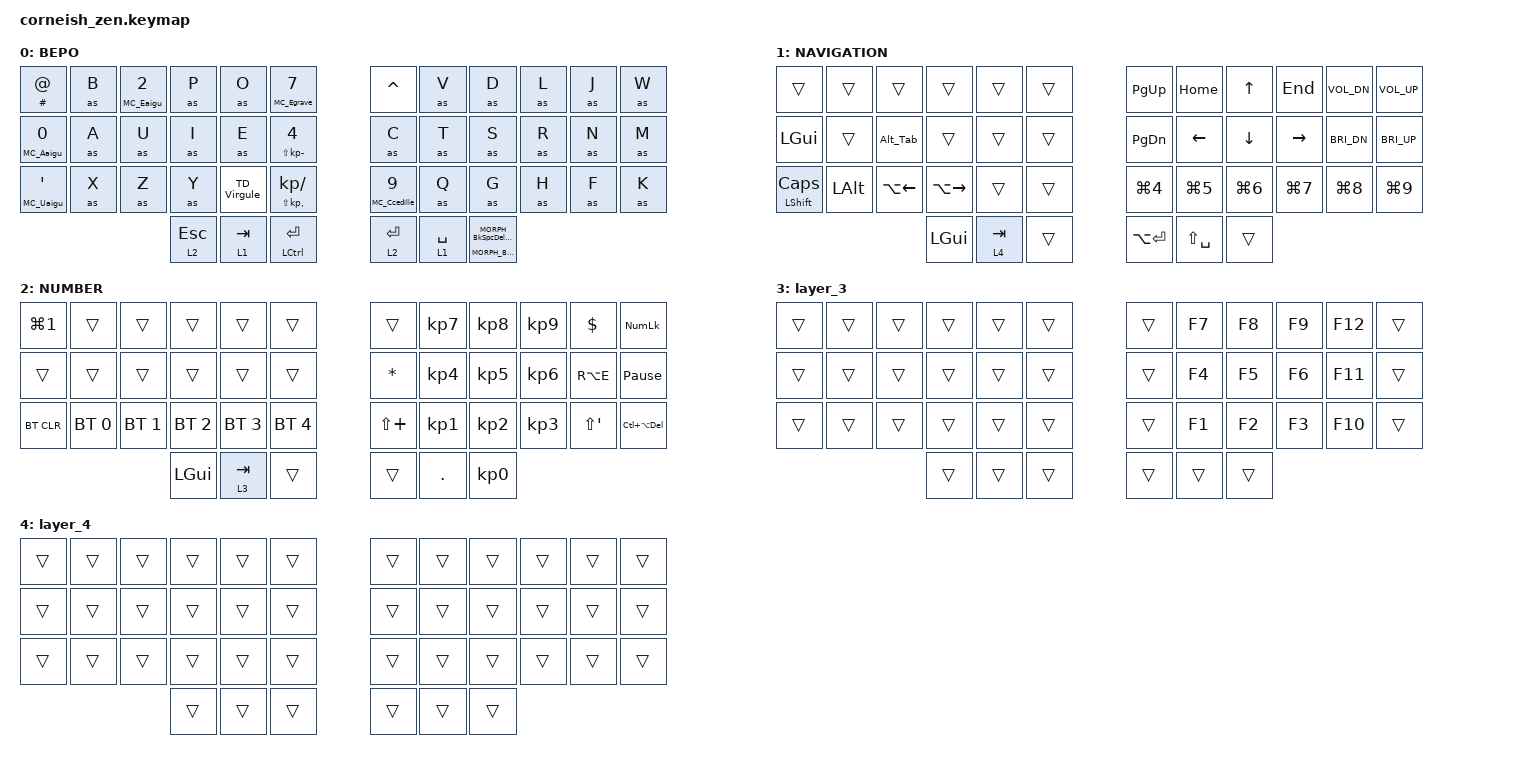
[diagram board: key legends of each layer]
#include <behaviors.dtsi>
#include <dt-bindings/zmk/bt.h>
#include <dt-bindings/zmk/keys.h>
#include <dt-bindings/zmk/keys.h>

&lt {
    tapping-term-ms = <135>;
    flavor = "tap-unless-interrupted";
};

&mt {
    tapping-term-ms = <135>;
    flavor = "hold-preferred";
};

/ {
    chosen {
        zmk,matrix_transform = &default_transform;

        //zmk,matrix_transform = &five_column_transform;
    };
};

/ {
    behaviors {
        as_ht: autoshift_hold_tap {
            compatible = "zmk,behavior-hold-tap";
            label = "AUTOSHIFT_HOLD_TAP";
            #binding-cells = <2>;
            tapping-term-ms = <140>;
            bindings = <&shifted>, <&kp>;
        };

        ht: ht {
            compatible = "zmk,behavior-hold-tap";
            label = "HOLD_TAP";
            bindings = <&kp>, <&kp>;

            #binding-cells = <2>;
            flavor = "tap-preferred";
            tapping-term-ms = <135>;
        };

        HT_Eaigu: HT_Eaigu {
            compatible = "zmk,behavior-hold-tap";
            label = "HT_EAIGU";
            bindings = <&MC_Eaigu>, <&kp>;

            #binding-cells = <2>;
            tapping-term-ms = <140>;
            flavor = "tap-preferred";
        };

        HT_Egrave: HT_Egrave {
            compatible = "zmk,behavior-hold-tap";
            label = "HT_EGRAVE";
            bindings = <&MC_Egrave>, <&kp>;

            #binding-cells = <2>;
            flavor = "tap-preferred";
            tapping-term-ms = <140>;
            hold-trigger-key-positions = <5>;
        };

        HT_Aaigu: HT_Aaigu {
            compatible = "zmk,behavior-hold-tap";
            label = "HT_AAIGU";
            bindings = <&MC_Aaigu>, <&kp>;

            #binding-cells = <2>;
            tapping-term-ms = <140>;
            flavor = "tap-preferred";
        };

        HT_Ccedille: HT_Ccedille {
            compatible = "zmk,behavior-hold-tap";
            label = "HT_CCEDILLE";
            bindings = <&MC_Ccedille>, <&kp>;

            #binding-cells = <2>;
            tapping-term-ms = <140>;
            flavor = "tap-preferred";
        };

        HT_Uaigu: HT_Uaigu {
            compatible = "zmk,behavior-hold-tap";
            label = "HT_UAIGU";
            bindings = <&MC_Uaigu>, <&kp>;

            #binding-cells = <2>;
            tapping-term-ms = <140>;
            flavor = "tap-preferred";
        };

        MORPH_BkSpcDel_Tap: BkSpcDelTap {
            compatible = "zmk,behavior-mod-morph";
            label = "BACKSPACEDELTAP";
            bindings = <&kp BACKSPACE>, <&kp DEL>;

            #binding-cells = <0>;
            mods = <(MOD_LCTL)>;
        };

        MORPH_BkSpcDel_Hold: MORPH_BkSpcDel_Hold {
            compatible = "zmk,behavior-mod-morph";
            label = "MORPH_BACKSPACEDEL_HOLD";
            bindings = <&kp RC(BACKSPACE)>, <&kp RC(DEL)>;

            #binding-cells = <0>;
            mods = <(MOD_LCTL)>;
        };

        HT_BkSpcDel: HT_BkSpcDel {
            compatible = "zmk,behavior-hold-tap";
            label = "HT_BackSpaceDel";
            bindings = <&MORPH_BkSpcDel_Hold>, <&MORPH_BkSpcDel_Tap>;

            #binding-cells = <2>;
            tapping-term-ms = <140>;
            flavor = "tap-preferred";
        };

        Alt_Tab: Alt_Tab {
            compatible = "zmk,behavior-tri-state";
            #binding-cells = <0>;
            bindings = <&kt LALT>, <&kp TAB>, <&kt LALT>;
        };

        HT_Copy: HT_Copy {
            compatible = "zmk,behavior-hold-tap";
            label = "HT_COPY";
            bindings = <&kp>, <&kp>;

            #binding-cells = <2>;
            tapping-term-ms = <160>;
            flavor = "tap-preferred";
            hold-trigger-key-positions = <14 15>;
        };

        HT_Paste: HT_Paste {
            compatible = "zmk,behavior-hold-tap";
            label = "HT_PASTE";
            bindings = <&MC_Paste>, <&kp>;

            #binding-cells = <2>;
            tapping-term-ms = <140>;
            flavor = "tap-preferred";
        };

        TD_Paste: TD_Paste {
            compatible = "zmk,behavior-tap-dance";
            label = "TD_PASTE";
            #binding-cells = <0>;
            bindings = <&HT_Paste 0 LC(V)>, <&none>;

            tapping-term-ms = <150>;
        };

        HT_Dbl_Quot: HT_Dbl_Quot {
            compatible = "zmk,behavior-hold-tap";
            label = "HT_DBL_QUOT";
            bindings = <&MC_Dbl_Quot>, <&kp>;

            #binding-cells = <2>;
            tapping-term-ms = <140>;
            flavor = "tap-preferred";
        };

        HT_Apost: HT_Apost {
            compatible = "zmk,behavior-hold-tap";
            label = "HT_APOST";
            bindings = <&kp>, <&kp>;

            #binding-cells = <2>;
            tapping-term-ms = <140>;
            flavor = "tap-preferred";
        };

        HT_CapsLock: HT_CapsLock {
            compatible = "zmk,behavior-hold-tap";
            label = "HT_CAPSLOCK";
            bindings = <&kp>, <&kp>;

            #binding-cells = <2>;
            tapping-term-ms = <160>;
        };

        TD_Virgule: TD_Virgule {
            compatible = "zmk,behavior-tap-dance";
            label = "TD_VIRGULE";
            #binding-cells = <0>;
            bindings = <&ht KP_COMMA M>, <&kp KP_DOT>;

            tapping-term-ms = <140>;
        };

        MORPH_Exclamation: MORPH_Exclamation {
            compatible = "zmk,behavior-mod-morph";
            label = "MORPH_EXCLAMATION";
            bindings = <&kp LS(KP_COMMA)>, <&kp KP_SLASH>;

            #binding-cells = <0>;
            mods = <(MOD_LCTL)>;
        };

        MORPH_Three_dots: MORPH_Three_dots {
            compatible = "zmk,behavior-mod-morph";
            label = "MORPH_THREE_DOTS";
            bindings = <&kp LS(M)>, <&MC_three_Dots>;

            #binding-cells = <0>;
            mods = <(MOD_LCTL)>;
        };

        HT_XLS_addTab: HT_XLS_addTab {
            compatible = "zmk,behavior-hold-tap";
            label = "HT_XLS_ADDTAB";
            bindings = <&MC_XLS_SupprTab>, <&kp>;

            #binding-cells = <2>;
            flavor = "tap-preferred";
            tapping-term-ms = <150>;
        };
    };

    macros {
        shifted: macro_shifted_kp {
            #binding-cells = <1>;
            label = "MACRO_SHIFTED_KP";
            compatible = "zmk,behavior-macro-one-param";
            bindings =
                <&macro_press>,
                <&kp LSHFT &macro_param_1to1>,
                <&macro_tap>,
                <&kp MACRO_PLACEHOLDER>,
                <&macro_release>,
                <&kp LSHFT>;
        };

        as: autoshift {
            compatible = "zmk,behavior-macro-one-param";
            #binding-cells = <1>;
            label = "AUTOSHIFT_KP";
            bindings =
                <&macro_press>,
                <&macro_param_1to1 &macro_param_1to2 &as_ht MACRO_PLACEHOLDER MACRO_PLACEHOLDER>,
                <&macro_pause_for_release>,
                <&macro_release>,
                <&macro_param_1to1 &macro_param_1to2 &as_ht MACRO_PLACEHOLDER MACRO_PLACEHOLDER>;
        };

        MC_Eaigu: MC_Eaigu {
            compatible = "zmk,behavior-macro";
            #binding-cells = <0>;
            bindings = <&kp LA(KP_NUMBER_1) &kp LA(KP_NUMBER_4) &kp LA(KP_NUMBER_4)>;
            label = "MC_EAIGU";
        };

        MC_Egrave: MC_Egrave {
            compatible = "zmk,behavior-macro";
            #binding-cells = <0>;
            bindings = <&kp LA(KP_NUMBER_2) &kp LA(KP_NUMBER_1) &kp LA(KP_NUMBER_2)>;
            label = "MC_EGRAVE";
        };

        MC_Ccedille: MC_Ccedille {
            compatible = "zmk,behavior-macro";
            #binding-cells = <0>;
            bindings = <&kp LA(KP_NUMBER_1) &kp LA(KP_NUMBER_2) &kp LA(KP_NUMBER_8)>;
            label = "MC_CCEDILLE";
        };

        MC_Aaigu: MC_Aaigu {
            compatible = "zmk,behavior-macro";
            #binding-cells = <0>;
            bindings = <&kp LA(KP_N0) &kp LA(KP_NUMBER_1) &kp LA(KP_NUMBER_9) &kp LA(KP_NUMBER_2)>;
            label = "MC_AAIGU";
        };

        MC_Uaigu: MC_Uaigu {
            compatible = "zmk,behavior-macro";
            #binding-cells = <0>;
            bindings = <&kp LA(KP_NUMBER_2) &kp LA(KP_NUMBER_3) &kp LA(KP_NUMBER_5)>;
            label = "MC_UAIGU";
        };

        MC_Paste: MC_Paste {
            compatible = "zmk,behavior-macro";
            #binding-cells = <0>;
            bindings = <&kp LC(V) &kp ENTER>;
            label = "MC_PASTE";
        };

        MC_PasteValue: MC_PasteValue {
            compatible = "zmk,behavior-macro";
            #binding-cells = <0>;
            bindings = <&kp LA(LC(V)) &kp V &kp RET>;
            label = "MC_PASTEVALUE";
        };

        MC_Dbl_Quot: MC_Dbl_Quot {
            compatible = "zmk,behavior-macro";
            #binding-cells = <0>;
            bindings = <&kp N3 &kp N3 &kp LEFT>;
            label = "MC_DBL_QUOT";
        };

        MC_three_Dots: three_Dots {
            compatible = "zmk,behavior-macro";
            #binding-cells = <0>;
            bindings = <&kt LS(KP_COMMA) &kp LS(KP_COMMA) &kp LS(KP_COMMA)>;
            label = "THREE_DOTS";
        };

        MC_XLS_SupprTab: MC_XLS_SupprTab {
            compatible = "zmk,behavior-macro";
            #binding-cells = <0>;
            bindings = <&kp LALT &kp L &kp U &kp S &kp F>;
            label = "MC_XLS_SUPPRTAB";
        };
    };

    combos {
        compatible = "zmk,combos";

        undo {
            bindings = <&kp LC(W)>;
            key-positions = <2 3>;
        };

        redo {
            bindings = <&kp LC(Y)>;
            key-positions = <3 4>;
        };

        printsc {
            bindings = <&ht LG(N3) LS(LG(S))>;
            key-positions = <4 5>;
        };

        selectall {
            bindings = <&kp LC(Q)>;
            key-positions = <14 15 16>;
        };

        Copy {
            bindings = <&HT_Copy LC(X) LC(C)>;
            key-positions = <14 15>;
        };

        Paste {
            bindings = <&TD_Paste>;
            key-positions = <15 16>;
        };

        Dbl_Quot {
            bindings = <&HT_Dbl_Quot 0 N3>;
            key-positions = <16 17>;
        };

        PreviousTab {
            bindings = <&kp LC(PAGE_UP)>;
            key-positions = <26 27>;
            layers = <0>;
        };

        NextTab {
            bindings = <&kp LC(PAGE_DOWN)>;
            key-positions = <27 28>;
            layers = <0>;
        };

        XLS_AddTab {
            bindings = <&HT_XLS_addTab 0 LS(F11)>;
            key-positions = <26 27 28>;
            layers = <0>;
        };

        //--------uniquement layer 2----------

        L2_PreviousBT {
            bindings = <&bt BT_PRV>;
            key-positions = <26 27>;
            layers = <2>;
        };

        L2_NextBT {
            bindings = <&bt BT_NXT>;
            key-positions = <27 28>;
            layers = <2>;
        };

        L2_ClearBT {
            bindings = <&bt BT_CLR>;
            key-positions = <26 27 28>;
            layers = <2>;
        };

        //--------uniquement layer 2----------

        underscore {
            bindings = <&kp N8>;
            key-positions = <28 29>;
        };

        EtCom {
            bindings = <&kp N1>;
            key-positions = <29 30>;
        };

        tiret {
            bindings = <&kp N6>;
            key-positions = <18 19>;
        };

        CtrlAltSuppr {
            bindings = <&kp LC(LA(DEL))>;
            key-positions = <0 11>;
        };

        Mute {
            bindings = <&kp K_MUTE>;
            key-positions = <10 11>;
        };

        TCLOCK {
            bindings = <&kp LA(LC(K))>;
            key-positions = <35 34>;
        };
    };

    keymap {
        compatible = "zmk,keymap";

        default_layer {
            label = "BEPO";
            bindings = <
&mt HASH AT_SIGN          &as B  &HT_Eaigu 0 N2  &as P         &as O        &HT_Egrave 0 N7              &kp CARET          &as V        &as D             &as L  &as J  &as W
&HT_Aaigu 0 N0            &as A  &as U           &as I         &as E        &HT_Apost LS(KP_MINUS) N4    &as C              &as T        &as S             &as R  &as N  &as M
&HT_Uaigu 0 SINGLE_QUOTE  &as X  &as Z           &as Y         &TD_Virgule  &ht LS(KP_COMMA) KP_SLASH    &HT_Ccedille 0 N9  &as Q        &as G             &as H  &as F  &as K
                                                 &lt 2 ESCAPE  &lt 1 TAB    &mt LCTRL ENTER              &lt 2 ENTER        &lt 1 SPACE  &HT_BkSpcDel 0 0
            >;
        };

        layer_1 {
            label = "NAVIGATION";
            bindings = <
&trans                        &trans        &trans        &trans         &trans     &trans    &kp PAGE_UP    &kp HOME       &kp UP      &kp END     &kp C_VOL_DN  &kp C_VOLUME_UP
&kp LEFT_GUI                  &trans        &Alt_Tab      &trans         &trans     &trans    &kp PAGE_DOWN  &kp LEFT       &kp DOWN    &kp RIGHT   &kp C_BRI_DN  &kp C_BRI_UP
&HT_CapsLock LEFT_SHIFT CAPS  &kp LEFT_ALT  &kp LA(LEFT)  &kp LA(RIGHT)  &trans     &trans    &kp LG(N4)     &kp LG(N5)     &kp LG(N6)  &kp LG(N7)  &kp LG(N8)    &kp LG(N9)
                                                          &kp LGUI       &lt 4 TAB  &trans    &kp LA(ENTER)  &kp LS(SPACE)  &trans
            >;
        };

        layer_2 {
            label = "NUMBER";
            bindings = <
&kp LG(N1)  &trans        &trans        &trans        &trans        &trans          &trans        &kp KP_NUMBER_7  &kp KP_NUMBER_8  &kp KP_NUMBER_9  &kp DLLR     &kp KP_NUMLOCK
&trans      &trans        &trans        &trans        &trans        &trans          &kp STAR      &kp KP_NUMBER_4  &kp KP_NUMBER_5  &kp KP_NUMBER_6  &kp RA(E)    &kp PAUSE_BREAK
&bt BT_CLR  &bt BT_SEL 0  &bt BT_SEL 1  &bt BT_SEL 2  &bt BT_SEL 3  &bt BT_SEL 4    &kp LS(PLUS)  &kp KP_NUMBER_1  &kp KP_NUMBER_2  &kp KP_NUMBER_3  &kp LS(SQT)  &kp LC(LA(DEL))
                                        &kp LGUI      &lt 3 TAB     &trans          &trans        &kp DOT          &kp KP_N0
            >;
        };

        layer_3 {
            bindings = <
&trans  &trans  &trans  &trans  &trans  &trans    &trans  &kp F7  &kp F8  &kp F9  &kp F12  &trans
&trans  &trans  &trans  &trans  &trans  &trans    &trans  &kp F4  &kp F5  &kp F6  &kp F11  &trans
&trans  &trans  &trans  &trans  &trans  &trans    &trans  &kp F1  &kp F2  &kp F3  &kp F10  &trans
                        &trans  &trans  &trans    &trans  &trans  &trans
            >;
        };

        layer_4 {
            bindings = <
&trans  &trans  &trans  &trans  &trans  &trans    &trans  &trans  &trans  &trans  &trans  &trans
&trans  &trans  &trans  &trans  &trans  &trans    &trans  &trans  &trans  &trans  &trans  &trans
&trans  &trans  &trans  &trans  &trans  &trans    &trans  &trans  &trans  &trans  &trans  &trans
                        &trans  &trans  &trans    &trans  &trans  &trans
            >;
        };
    };
};
